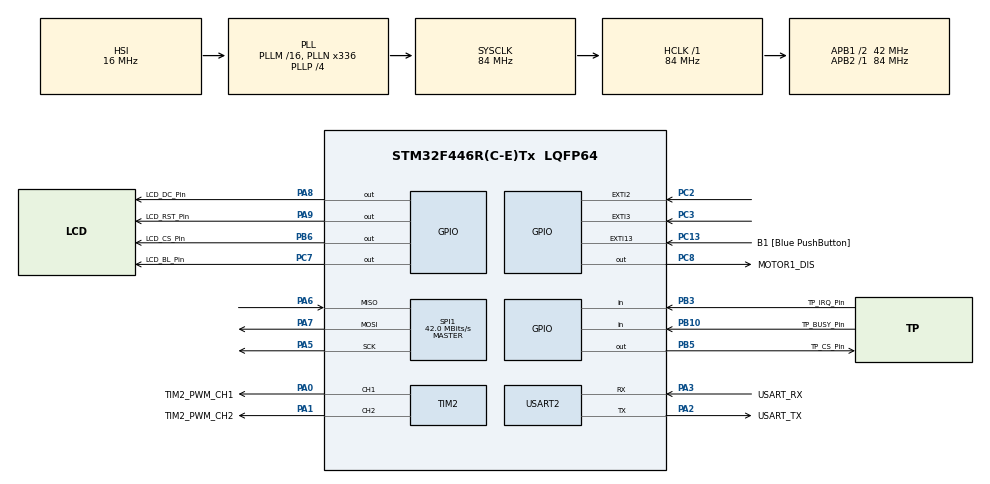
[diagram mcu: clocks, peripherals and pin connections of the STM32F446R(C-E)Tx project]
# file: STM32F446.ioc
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Mcu.Family=STM32F4
Mcu.Name=STM32F446R(C-E)Tx
Mcu.Package=LQFP64
NVIC.EXTI2_IRQn=true\:0\:0\:false\:true\:true\:1\:true\:true
NVIC.EXTI3_IRQn=true\:0\:0\:false\:true\:true\:2\:true\:true
NVIC.PriorityGroup=NVIC_PRIORITYGROUP_4
NVIC.TIM8_TRG_COM_TIM14_IRQn=true\:0\:0\:false\:false\:true\:false\:true
NVIC.TimeBase=TIM8_TRG_COM_TIM14_IRQn
NVIC.TimeBaseIP=TIM14
PA0-WKUP.GPIO_Label=TIM2_PWM_CH1
PA0-WKUP.Signal=S_TIM2_CH1_ETR
PA1.GPIO_Label=TIM2_PWM_CH2
PA1.Signal=S_TIM2_CH2
PA13.GPIO_Label=TMS
PA13.Mode=Serial_Wire
PA13.Signal=SYS_JTMS-SWDIO
PA14.GPIO_Label=TCK
PA14.Mode=Serial_Wire
PA14.Signal=SYS_JTCK-SWCLK
PA2.GPIO_Label=USART_TX
PA2.Mode=Asynchronous
PA2.Signal=USART2_TX
PA3.GPIO_Label=USART_RX
PA3.Mode=Asynchronous
PA3.Signal=USART2_RX
PA5.Mode=Full_Duplex_Master
PA5.Signal=SPI1_SCK
PA6.Mode=Full_Duplex_Master
PA6.Signal=SPI1_MISO
PA7.Mode=Full_Duplex_Master
PA7.Signal=SPI1_MOSI
PA8.GPIO_Label=LCD_DC_Pin
PA8.Signal=GPIO_Output
PA9.GPIO_Label=LCD_RST_Pin
PA9.Signal=GPIO_Output
PB10.GPIO_Label=TP_BUSY_Pin
PB10.Signal=GPIO_Input
PB3.GPIO_Label=TP_IRQ_Pin
PB3.Signal=GPIO_Input
PB5.GPIO_Label=TP_CS_Pin
PB5.Signal=GPIO_Output
PB6.GPIO_Label=LCD_CS_Pin
PB6.Signal=GPIO_Output
PC13.GPIO_Label=B1 [Blue PushButton]
PC13.GPIO_ModeDefaultEXTI=GPIO_MODE_IT_FALLING
PC13.Signal=GPXTI13
PC14-OSC32_IN.Mode=LSE-External-Oscillator
PC14-OSC32_IN.Signal=RCC_OSC32_IN
PC15-OSC32_OUT.Mode=LSE-External-Oscillator
PC15-OSC32_OUT.Signal=RCC_OSC32_OUT
PC2.GPIO_ModeDefaultEXTI=GPIO_MODE_IT_RISING
PC2.GPIO_PuPd=GPIO_PULLUP
PC2.Signal=GPXTI2
PC3.Signal=GPXTI3
PC7.GPIO_Label=LCD_BL_Pin
PC7.Signal=GPIO_Output
PC8.GPIO_Label=MOTOR1_DIS
PC8.Signal=GPIO_Output
PH0-OSC_IN.Mode=HSE-External-Oscillator
PH0-OSC_IN.Signal=RCC_OSC_IN
PH1-OSC_OUT.Mode=HSE-External-Oscillator
PH1-OSC_OUT.Signal=RCC_OSC_OUT
ProjectManager.HeapSize=0x200
ProjectManager.StackSize=0x400
ProjectManager.TargetToolchain=STM32CubeIDE
RCC.48MHZClocksFreq_Value=84000000
RCC.AHBFreq_Value=84000000
RCC.APB1CLKDivider=RCC_HCLK_DIV2
RCC.APB1Freq_Value=42000000
RCC.APB1TimFreq_Value=84000000
RCC.APB2Freq_Value=84000000
RCC.APB2TimFreq_Value=84000000
RCC.CortexFreq_Value=84000000
RCC.FLatency-AdvancedSettings=FLASH_LATENCY_2
RCC.HCLKFreq_Value=84000000
RCC.HSE_VALUE=8000000
RCC.HSI_VALUE=16000000
RCC.PLLN=336
RCC.PLLP=RCC_PLLP_DIV4
RCC.SYSCLKFreq_VALUE=84000000
RCC.SYSCLKSource=RCC_SYSCLKSOURCE_PLLCLK
RCC.USBFreq_Value=168000000
RCC.VCOOutputFreq_Value=336000000
SH.S_TIM2_CH1_ETR.0=TIM2_CH1,PWM Generation1 CH1
SH.S_TIM2_CH2.0=TIM2_CH2,PWM Generation2 CH2
SPI1.CalculateBaudRate=42.0 MBits/s
SPI1.Direction=SPI_DIRECTION_2LINES
SPI1.Mode=SPI_MODE_MASTER
SPI1.VirtualType=VM_MASTER
TIM2.Channel-PWM\ Generation1\ CH1=TIM_CHANNEL_1
TIM2.Channel-PWM\ Generation2\ CH2=TIM_CHANNEL_2
TIM2.Pulse-PWM\ Generation1\ CH1=100
TIM2.Pulse-PWM\ Generation2\ CH2=100
USART2.VirtualMode=VM_ASYNC
VP_SYS_VS_tim14.Mode=TIM14
board=NUCLEO-F446RE

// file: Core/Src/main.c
/* USER CODE BEGIN Header */
/**
  ******************************************************************************
  * @file           : main.c
  * @brief          : Main program body
  ******************************************************************************
  * @attention
  *
  * <h2><center>&copy; Copyright (c) 2019 STMicroelectronics.
  * All rights reserved.</center></h2>
  *
  * This software component is licensed by ST under BSD 3-Clause license,
  * the "License"; You may not use this file except in compliance with the
  * License. You may obtain a copy of the License at:
  *                        opensource.org/licenses/BSD-3-Clause
  *
  ******************************************************************************
  */
/* USER CODE END Header */

#include "main.h"

/* USER CODE BEGIN Includes */
#include "lvgl.h"
#include "tft.h"
#include "touch.h"
#include "demo.h"
#include "PID.h"

void tft_init(LCD_SCAN_DIR LCD_ScanDir);
void LCD_Clear(COLOR  Color);
#define WHITE          0xFFFF
#define BLACK          0x0000
#define BLUE           0x001F
#define BRED           0XF81F
#define GRED 		   0XFFE0
#define GBLUE		   0X07FF
#define RED            0xF800
#define MAGENTA        0xF81F
#define GREEN          0x07E0
#define CYAN           0x7FFF
#define YELLOW         0xFFE0
#define BROWN 		   0XBC40
#define BRRED 		   0XFC07
#define GRAY  		   0X8430

/* USER CODE END Includes */

/* USER CODE BEGIN PM */

// Structure to strore PID data and pointer to PID structure
struct pid_controller ctrldata;
struct pid_controller ctrldata1;
pid_t pid;
pid_t pid1;

// Control loop input,output and setpoint variables
float input = 0, output = 0;
float input1 = 0, output1 = 0;
float setpoint = 10;

// Control loop gains
float kp = 0.8, ki = 1, kd = 4;

/* USER CODE END PM */

SPI_HandleTypeDef hspi1;

TIM_HandleTypeDef htim2;

UART_HandleTypeDef huart2;

void SystemClock_Config(void);
static void MX_GPIO_Init(void);
static void MX_USART2_UART_Init(void);
static void MX_SPI1_Init(void);
static void MX_TIM2_Init(void);
static void MX_NVIC_Init(void);
/* USER CODE BEGIN PFP */

uint32_t IC_Value1 = 0;
uint32_t IC_Value2 = 0;
uint32_t Difference = 0;
uint32_t Frequency = 0;
uint8_t Is_First_Captured = 0;  // 0- not captured, 1- captured

/* USER CODE END PFP */

/* USER CODE BEGIN 0 */
char label_text[64];
uint32_t my_timer  = 0;
uint32_t my_speed1 = 0;
uint32_t my_speed2 = 0;
extern  uint32_t int_my_timer;

lv_obj_t * gauge1;
lv_obj_t * gauge2;
lv_obj_t * speed1;
lv_obj_t * speed2;
//uint32_t prev_value = 0;

#if 0
lv_obj_t * gauge1;
lv_obj_t * gauge2;
lv_obj_t * speed1;
lv_obj_t * speed2;
uint32_t prev_value = 0;
static void slider_event_cb(lv_obj_t * slider, lv_event_t event)
{
	uint32_t period;
    if(event == LV_EVENT_VALUE_CHANGED)
    {
        //static char buf[4]; /* max 3 bytes for number plus 1 null terminating byte */
        //snprintf(buf, 4, "%u", lv_slider_get_value(slider));
        //lv_label_set_text(slider_label, buf);
    	lv_gauge_set_value(gauge1, 0,lv_slider_get_value(slider));
    	period  = 50*lv_slider_get_value(slider);
    	if (period >= 4800)
    		period = 4800;
    	if (period <=100)
    		period = 100;
    	//__HAL_TIM_SET_AUTORELOAD(&htim3, period);
    	//TIMx->CCR1 = OC_Config->Pulse;
    	//htim3.Instance->CCR1 = period;

    }
}
static void slider2_event_cb(lv_obj_t * slider, lv_event_t event)
{
	uint32_t period;
    if(event == LV_EVENT_VALUE_CHANGED)
    {
        //static char buf[4]; /* max 3 bytes for number plus 1 null terminating byte */
        //snprintf(buf, 4, "%u", lv_slider_get_value(slider));
        //lv_label_set_text(slider_label, buf);
    	lv_gauge_set_value(gauge2, 0,lv_slider_get_value(slider));
    	period  = 50*lv_slider_get_value(slider);
    	if (period >= 4800)
    		period = 4800;
    	if (period <=100)
    		period = 100;
    	//__HAL_TIM_SET_AUTORELOAD(&htim3, period);
    	//TIMx->CCR1 = OC_Config->Pulse;
    	//htim5.Instance->CCR4 = period;

    }
}

/**
 * Create a demo application
 */
void demo_create(void)
{
    lv_coord_t hres = lv_disp_get_hor_res(NULL);
    lv_coord_t vres = lv_disp_get_ver_res(NULL);

	static lv_style_t style;
	lv_style_copy(&style, &lv_style_pretty_color);
	style.body.main_color = lv_color_hex3(0x666);     /*Line color at the beginning*/
	style.body.grad_color =  lv_color_hex3(0x666);    /*Line color at the end*/
	style.body.padding.left = 10;                      /*Scale line length*/
	style.body.padding.inner = 8 ;                    /*Scale label padding*/
	style.body.border.color = lv_color_hex3(0x333);   /*Needle middle circle color*/
	style.line.width = 3;
	style.text.color = lv_color_hex3(0x333);
	style.line.color = LV_COLOR_RED;                  /*Line color after the critical value*/

#if LV_DEMO_WALLPAPER
    lv_obj_t * wp = lv_img_create(lv_disp_get_scr_act(NULL), NULL);
    lv_img_set_src(wp, &img_bubble_pattern);
    lv_obj_set_width(wp, hres * 6);
    lv_obj_set_protect(wp, LV_PROTECT_POS);
#endif

    lv_obj_t * obj1 = lv_page_create(NULL,NULL);
    lv_disp_load_scr(obj1);

#if LV_DEMO_WALLPAPER
    lv_obj_set_parent(wp, ((lv_tabview_ext_t *) tv->ext_attr)->content);
    lv_obj_set_pos(wp, 0, -5);
#endif

    gauge1 = lv_gauge_create(obj1,NULL);
    lv_obj_align(gauge1,NULL,LV_ALIGN_CENTER,0,20);
    lv_gauge_set_style(gauge1, LV_GAUGE_STYLE_MAIN, &style);

    lv_obj_t * slider1 = lv_slider_create(obj1,NULL);
	lv_obj_set_size(slider1, 30,140);
    lv_slider_set_range(slider1, 0, 100);
    lv_obj_align(slider1, gauge1,LV_ALIGN_OUT_RIGHT_MID,40,-30);
    lv_obj_set_event_cb(slider1, slider_event_cb);

#if LV_DEMO_SLIDE_SHOW
    lv_task_create(tab_switcher, 3000, LV_TASK_PRIO_MID, tv);
#endif
}
#endif
/* USER CODE END 0 */

int main(void)
{
  /* USER CODE BEGIN 1 */
	uint32_t test = 0;
	uint32_t fault_counter = 0;
	uint32_t fault_counter1 = 0;

    float temp_speed;
    float temp_speed1;

  /* USER CODE END 1 */

  /* MCU Configuration--------------------------------------------------------*/

  /* Reset of all peripherals, Initializes the Flash interface and the Systick. */
  HAL_Init();

  /* Configure the system clock */
  SystemClock_Config();

  /* USER CODE BEGIN SysInit */
  lv_init();
  /* USER CODE END SysInit */

  /* Initialize all configured peripherals */
  MX_GPIO_Init();
  MX_USART2_UART_Init();
  MX_SPI1_Init();
  MX_TIM2_Init();

  /* Initialize interrupts */
  MX_NVIC_Init();
  /* USER CODE BEGIN 2 */
  LCD_SCAN_DIR Lcd_ScanDir = SCAN_DIR_DFT;//SCAN_DIR_DFT = D2U_L2R
  tft_init(Lcd_ScanDir);
  TP_Init(Lcd_ScanDir);
  TP_GetAdFac();//Get the default calibration factor

  pid = pid_create(&ctrldata, &input, &output, &setpoint, kp, ki, kd);
  pid1 = pid_create(&ctrldata1, &input1, &output1, &setpoint, kp, ki, kd);
  // Set controler output limits from 0 to 200
  pid_limits(pid, -20, 20);
  pid_limits(pid1, -20, 20);
  // Allow PID to compute and change output
  pid_auto(pid);
  pid_auto(pid1);

  demo_create();

  my_timer  = 0;
  my_speed1 = 0;
  my_speed2 = 0;
  temp_speed = 0;

  htim2.Instance->CCR2 = 0;
  htim2.Instance->CCR1= 0;

  /*Configure GPIO pin Output Level */
  HAL_GPIO_WritePin(GPIOC,MOTOR1_DIS_Pin, GPIO_PIN_SET);
  while(1)
  {
	  //test = htim4.Instance->CCR2;
	  lv_task_handler();
	  HAL_Delay(5);

	  //for (;;)
	 // {
		if (my_timer>=500)
		{
			temp_speed = (float)my_speed2;
			temp_speed1 = (float)my_speed1;

	    	lv_gauge_set_value(gauge1, 1,my_speed2);
	    	lv_gauge_set_value(gauge2, 1,my_speed1);

			sprintf(label_text,"%06d rps",(uint32_t)temp_speed1);
			lv_label_set_text(speed1,label_text);
			sprintf(label_text,"%06d rps",(uint32_t)temp_speed);
			lv_label_set_text(speed2,label_text);

			//my_speed2=0;
			my_timer=0;
			if (pid_need_compute(pid))
			{
				// Read process feedback
				input = /*process_input()*/temp_speed;
				pid->input = (&temp_speed);
				// Compute new PID output value
				pid_compute(pid);
				//Change actuator value
				//process_output(output);
				htim2.Instance->CCR2 += (int32_t)*pid->output;
#if 0
				if ((htim2.Instance->CCR2 >= 800) && (my_speed2<=2))
				{
					fault_counter++;
					if (fault_counter>=1)
					{
						htim2.Instance->CCR2 = 0;
						htim2.Instance->CCR1 = 0;
						for(;;);
					}
				}else
					fault_counter = 0;
#endif
			}
			if (pid_need_compute(pid1))
			{
				// Read process feedback
				input1 = /*process_input()*/temp_speed1;
				pid1->input = (&temp_speed1);
				// Compute new PID output value
				pid_compute(pid1);
				//Change actuator value
				//process_output(output);
				htim2.Instance->CCR1 += (int32_t)*pid1->output;
#if 0
				if ((htim2.Instance->CCR1 >= 800) && (my_speed1<=2))
				{
					fault_counter1++;
					if (fault_counter>=1)
					{
						htim2.Instance->CCR1 = 0;
						htim2.Instance->CCR2 = 0;
						for(;;);
					}
				}else
					fault_counter1 = 0;
#endif
			}
			my_speed2=0;
			my_speed1=0;

		//}
	  }
  }
  /* USER CODE END 2 */

  /* Infinite loop */
  while (1)
  {

  }
}

void SystemClock_Config(void)
{
  RCC_OscInitTypeDef RCC_OscInitStruct = {0};
  RCC_ClkInitTypeDef RCC_ClkInitStruct = {0};

  /** Configure the main internal regulator output voltage
  */
  __HAL_RCC_PWR_CLK_ENABLE();
  __HAL_PWR_VOLTAGESCALING_CONFIG(PWR_REGULATOR_VOLTAGE_SCALE3);
  /** Initializes the CPU, AHB and APB busses clocks
  */
  RCC_OscInitStruct.OscillatorType = RCC_OSCILLATORTYPE_HSI;
  RCC_OscInitStruct.HSIState = RCC_HSI_ON;
  RCC_OscInitStruct.HSICalibrationValue = RCC_HSICALIBRATION_DEFAULT;
  RCC_OscInitStruct.PLL.PLLState = RCC_PLL_ON;
  RCC_OscInitStruct.PLL.PLLSource = RCC_PLLSOURCE_HSI;
  RCC_OscInitStruct.PLL.PLLM = 16;
  RCC_OscInitStruct.PLL.PLLN = 336;
  RCC_OscInitStruct.PLL.PLLP = RCC_PLLP_DIV4;
  RCC_OscInitStruct.PLL.PLLQ = 2;
  RCC_OscInitStruct.PLL.PLLR = 2;
  if (HAL_RCC_OscConfig(&RCC_OscInitStruct) != HAL_OK)
  {
    Error_Handler();
  }
  /** Initializes the CPU, AHB and APB busses clocks
  */
  RCC_ClkInitStruct.ClockType = RCC_CLOCKTYPE_HCLK|RCC_CLOCKTYPE_SYSCLK
                              |RCC_CLOCKTYPE_PCLK1|RCC_CLOCKTYPE_PCLK2;
  RCC_ClkInitStruct.SYSCLKSource = RCC_SYSCLKSOURCE_PLLCLK;
  RCC_ClkInitStruct.AHBCLKDivider = RCC_SYSCLK_DIV1;
  RCC_ClkInitStruct.APB1CLKDivider = RCC_HCLK_DIV2;
  RCC_ClkInitStruct.APB2CLKDivider = RCC_HCLK_DIV1;

  if (HAL_RCC_ClockConfig(&RCC_ClkInitStruct, FLASH_LATENCY_2) != HAL_OK)
  {
    Error_Handler();
  }
}

/**
  * @brief NVIC Configuration.
  * @retval None
  */
static void MX_NVIC_Init(void)
{
  /* EXTI2_IRQn interrupt configuration */
  HAL_NVIC_SetPriority(EXTI2_IRQn, 0, 0);
  HAL_NVIC_EnableIRQ(EXTI2_IRQn);
  /* EXTI3_IRQn interrupt configuration */
  HAL_NVIC_SetPriority(EXTI3_IRQn, 0, 0);
  HAL_NVIC_EnableIRQ(EXTI3_IRQn);
}

static void MX_SPI1_Init(void)
{

  /* SPI1 parameter configuration*/
  hspi1.Instance = SPI1;
  hspi1.Init.Mode = SPI_MODE_MASTER;
  hspi1.Init.Direction = SPI_DIRECTION_2LINES;
  hspi1.Init.DataSize = SPI_DATASIZE_8BIT;
  hspi1.Init.CLKPolarity = SPI_POLARITY_LOW;
  hspi1.Init.CLKPhase = SPI_PHASE_1EDGE;
  hspi1.Init.NSS = SPI_NSS_SOFT;
  hspi1.Init.BaudRatePrescaler = SPI_BAUDRATEPRESCALER_2;
  hspi1.Init.FirstBit = SPI_FIRSTBIT_MSB;
  hspi1.Init.TIMode = SPI_TIMODE_DISABLE;
  hspi1.Init.CRCCalculation = SPI_CRCCALCULATION_DISABLE;
  hspi1.Init.CRCPolynomial = 10;
  if (HAL_SPI_Init(&hspi1) != HAL_OK)
  {
    Error_Handler();
  }

}

static void MX_TIM2_Init(void)
{

  TIM_MasterConfigTypeDef sMasterConfig = {0};
  TIM_OC_InitTypeDef sConfigOC = {0};

  htim2.Instance = TIM2;
  htim2.Init.Prescaler = 0;
  htim2.Init.CounterMode = TIM_COUNTERMODE_UP;
  htim2.Init.Period = 4000;
  htim2.Init.ClockDivision = TIM_CLOCKDIVISION_DIV1;
  htim2.Init.AutoReloadPreload = TIM_AUTORELOAD_PRELOAD_DISABLE;
  if (HAL_TIM_PWM_Init(&htim2) != HAL_OK)
  {
    Error_Handler();
  }
  sMasterConfig.MasterOutputTrigger = TIM_TRGO_RESET;
  sMasterConfig.MasterSlaveMode = TIM_MASTERSLAVEMODE_DISABLE;
  if (HAL_TIMEx_MasterConfigSynchronization(&htim2, &sMasterConfig) != HAL_OK)
  {
    Error_Handler();
  }
  sConfigOC.OCMode = TIM_OCMODE_PWM1;
  sConfigOC.Pulse = 100;
  sConfigOC.OCPolarity = TIM_OCPOLARITY_HIGH;
  sConfigOC.OCFastMode = TIM_OCFAST_DISABLE;
  if (HAL_TIM_PWM_ConfigChannel(&htim2, &sConfigOC, TIM_CHANNEL_1) != HAL_OK)
  {
    Error_Handler();
  }
  if (HAL_TIM_PWM_ConfigChannel(&htim2, &sConfigOC, TIM_CHANNEL_2) != HAL_OK)
  {
    Error_Handler();
  }
  /* USER CODE BEGIN TIM2_Init 2 */
  if (HAL_TIM_PWM_Start(&htim2, TIM_CHANNEL_1) != HAL_OK)
  {
     /* PWM Generation Error */
     Error_Handler();
  }
  /* USER CODE BEGIN TIM2_Init 2 */
  if (HAL_TIM_PWM_Start(&htim2, TIM_CHANNEL_2) != HAL_OK)
  {
     /* PWM Generation Error */
     Error_Handler();
  }

  /* USER CODE END TIM2_Init 2 */
  HAL_TIM_MspPostInit(&htim2);

}

static void MX_USART2_UART_Init(void)
{

  huart2.Instance = USART2;
  huart2.Init.BaudRate = 115200;
  huart2.Init.WordLength = UART_WORDLENGTH_8B;
  huart2.Init.StopBits = UART_STOPBITS_1;
  huart2.Init.Parity = UART_PARITY_NONE;
  huart2.Init.Mode = UART_MODE_TX_RX;
  huart2.Init.HwFlowCtl = UART_HWCONTROL_NONE;
  huart2.Init.OverSampling = UART_OVERSAMPLING_16;
  if (HAL_UART_Init(&huart2) != HAL_OK)
  {
    Error_Handler();
  }

}

static void MX_GPIO_Init(void)
{
  GPIO_InitTypeDef GPIO_InitStruct = {0};

  /* GPIO Ports Clock Enable */
  __HAL_RCC_GPIOC_CLK_ENABLE();
  __HAL_RCC_GPIOH_CLK_ENABLE();
  __HAL_RCC_GPIOA_CLK_ENABLE();
  __HAL_RCC_GPIOB_CLK_ENABLE();

  /*Configure GPIO pin Output Level */
  HAL_GPIO_WritePin(GPIOC, LCD_BL_Pin_Pin|MOTOR1_DIS_Pin, GPIO_PIN_RESET);

  /*Configure GPIO pin Output Level */
  HAL_GPIO_WritePin(GPIOA, LCD_DC_Pin_Pin|LCD_RST_Pin_Pin, GPIO_PIN_RESET);

  /*Configure GPIO pin Output Level */
  HAL_GPIO_WritePin(GPIOB, TP_CS_Pin_Pin|LCD_CS_Pin_Pin, GPIO_PIN_RESET);

  /*Configure GPIO pin : B1_Pin */
  GPIO_InitStruct.Pin = B1_Pin;
  GPIO_InitStruct.Mode = GPIO_MODE_IT_FALLING;
  GPIO_InitStruct.Pull = GPIO_NOPULL;
  HAL_GPIO_Init(B1_GPIO_Port, &GPIO_InitStruct);

  /*Configure GPIO pin : PC2 */
  GPIO_InitStruct.Pin = GPIO_PIN_2;
  GPIO_InitStruct.Mode = GPIO_MODE_IT_RISING;
  GPIO_InitStruct.Pull = GPIO_PULLUP;
  HAL_GPIO_Init(GPIOC, &GPIO_InitStruct);

  /*Configure GPIO pin : PC3 */
  GPIO_InitStruct.Pin = GPIO_PIN_3;
  GPIO_InitStruct.Mode = GPIO_MODE_IT_RISING;
  GPIO_InitStruct.Pull = GPIO_NOPULL;
  HAL_GPIO_Init(GPIOC, &GPIO_InitStruct);

  /*Configure GPIO pins : TP_BUSY_Pin_Pin TP_IRQ_Pin_Pin */
  GPIO_InitStruct.Pin = TP_BUSY_Pin_Pin|TP_IRQ_Pin_Pin;
  GPIO_InitStruct.Mode = GPIO_MODE_INPUT;
  GPIO_InitStruct.Pull = GPIO_NOPULL;
  HAL_GPIO_Init(GPIOB, &GPIO_InitStruct);

  /*Configure GPIO pins : LCD_BL_Pin_Pin MOTOR1_DIS_Pin */
  GPIO_InitStruct.Pin = LCD_BL_Pin_Pin|MOTOR1_DIS_Pin;
  GPIO_InitStruct.Mode = GPIO_MODE_OUTPUT_PP;
  GPIO_InitStruct.Pull = GPIO_NOPULL;
  GPIO_InitStruct.Speed = GPIO_SPEED_FREQ_LOW;
  HAL_GPIO_Init(GPIOC, &GPIO_InitStruct);

  /*Configure GPIO pins : LCD_DC_Pin_Pin LCD_RST_Pin_Pin */
  GPIO_InitStruct.Pin = LCD_DC_Pin_Pin|LCD_RST_Pin_Pin;
  GPIO_InitStruct.Mode = GPIO_MODE_OUTPUT_PP;
  GPIO_InitStruct.Pull = GPIO_NOPULL;
  GPIO_InitStruct.Speed = GPIO_SPEED_FREQ_LOW;
  HAL_GPIO_Init(GPIOA, &GPIO_InitStruct);

  /*Configure GPIO pins : TP_CS_Pin_Pin LCD_CS_Pin_Pin */
  GPIO_InitStruct.Pin = TP_CS_Pin_Pin|LCD_CS_Pin_Pin;
  GPIO_InitStruct.Mode = GPIO_MODE_OUTPUT_PP;
  GPIO_InitStruct.Pull = GPIO_NOPULL;
  GPIO_InitStruct.Speed = GPIO_SPEED_FREQ_LOW;
  HAL_GPIO_Init(GPIOB, &GPIO_InitStruct);

}

void HAL_TIM_PeriodElapsedCallback(TIM_HandleTypeDef *htim)
{
  if (htim->Instance == TIM14) {
    HAL_IncTick();
  }
  /* USER CODE BEGIN Callback 1 */
    lv_tick_inc(1);
    my_timer++;
  /* USER CODE END Callback 1 */
}

void Error_Handler(void)
{
}

/************************ (C) COPYRIGHT STMicroelectronics *****END OF FILE****/
